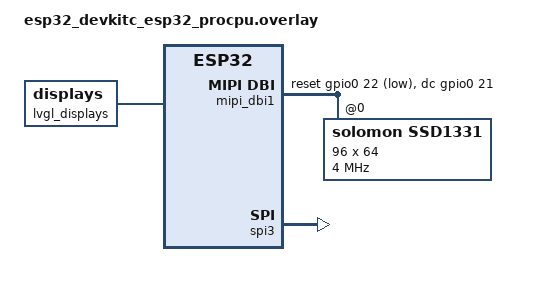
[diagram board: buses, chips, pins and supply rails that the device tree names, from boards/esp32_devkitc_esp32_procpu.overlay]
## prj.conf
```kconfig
# nothing here
#CONFIG_SHELL=y
CONFIG_ESP32_USE_UNSUPPORTED_REVISION=y
#CONFIG_LV_Z_FLUSH_THREAD=y
#CONFIG_CPP=y
#CONFIG_STD_CPP17=y
#CONFIG_LOG=y
#CONFIG_SPI_LOG_LEVEL_DBG=y


CONFIG_DEBUG_OPTIMIZATIONS=y
CONFIG_NO_OPTIMIZATIONS=n

# Display subsystem
CONFIG_DISPLAY=y
CONFIG_LVGL=y
CONFIG_LV_Z_MEM_POOL_SIZE=32768
CONFIG_MAIN_STACK_SIZE=8192
CONFIG_IDLE_STACK_SIZE=2048

CONFIG_LV_COLOR_DEPTH_16=y
CONFIG_LV_COLOR_16_SWAP=y

CONFIG_LV_FONT_DEFAULT_MONTSERRAT_14=n
CONFIG_LV_FONT_DEFAULT_MONTSERRAT_22=y

CONFIG_SPI=y
CONFIG_MIPI_DBI=y
CONFIG_MIPI_DBI_SPI=y

#CONFIG_LV_USE_CACHE=n
#CONFIG_LV_USE_IMAGE_CACHE=n
#CONFIG_LV_USE_IMAGE_DECODER=n

# LVGL
#CONFIG_LVGL_USE_LABEL=y
#CONFIG_LVGL_USE_FONT_DEFAULT_SMALL=y
#CONFIG_LVGL_BITS_PER_PIXEL=16
```

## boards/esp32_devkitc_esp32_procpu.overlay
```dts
/{
	chosen {
		zephyr,display = &ssd1331;
	};

    lvgl_displays: my-displays {
            compatible = "zephyr,displays";
            displays = <&ssd1331>;
            status = "okay";
    };

	mipi_dbi1 {
        compatible = "zephyr,mipi-dbi-spi";

        spi-dev = <&spi3>;

        dc-gpios = <&gpio0 21 GPIO_ACTIVE_HIGH>;
        reset-gpios = <&gpio0 22 GPIO_ACTIVE_LOW>;

        write-only;

        #address-cells = <1>;
        #size-cells = <0>;

        ssd1331: ssd1331@0 {
            compatible = "solomon,ssd1331";
            reg = <0>;
            width = <96>;
            height = <64>;

            display-offset = <0>;
            start-line = <0>;
            multiplex-ratio = <63>;

            phase-length = <0x31>;
            oscillator-freq = <0xF0>;

            mipi-mode = "MIPI_DBI_MODE_SPI_4WIRE";
            mipi-max-frequency = <4000000>;

            precharge-time-a = <0x70>;
            precharge-time-b = <0x70>;
            precharge-time-c = <0x70>;

            precharge-voltage = <0x3A>;
            vcomh-voltage = <0x20>;

            current-att = <0x08>;
            remap-value = <0x72>;
        };
	};
};

&spi3 {
	status = "okay";
	cs-gpios = <&gpio0 5 GPIO_ACTIVE_LOW>;
};
```

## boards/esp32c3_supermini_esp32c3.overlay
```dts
&pinctrl {
    spim2_default: spim2_default {
        group1 {
            pinmux = <SPIM2_MISO_GPIO5>,
                     <SPIM2_SCLK_GPIO6>,
                     <SPIM2_MOSI_GPIO7>;
        };
    };
};


/{
	chosen {
		zephyr,display = &ssd1331;
	};

    aliases {
        spibus = &spi2;
    };

    lvgl_displays: my-displays {
            compatible = "zephyr,displays";
            displays = <&ssd1331>;
            status = "okay";
    };

	mipi_dbi1 {
        compatible = "zephyr,mipi-dbi-spi";

        spi-dev = <&spi2>;

        dc-gpios = <&gpio0 8 GPIO_ACTIVE_HIGH>;
        reset-gpios = <&gpio0 9 GPIO_ACTIVE_LOW>;

        write-only;

        #address-cells = <1>;
        #size-cells = <0>;

        ssd1331: ssd1331@0 {
            compatible = "solomon,ssd1331";
            reg = <0>;
            width = <96>;
            height = <64>;

            display-offset = <0>;
            start-line = <0>;
            multiplex-ratio = <63>;

            phase-length = <0x31>;
            oscillator-freq = <0xF0>;

            color-coding = "MIPI_DBI_MODE_RGB565";
            mipi-mode = "MIPI_DBI_MODE_SPI_4WIRE";
            mipi-max-frequency = <4000000>;

            precharge-time-a = <0x70>;
            precharge-time-b = <0x70>;
            precharge-time-c = <0x70>;

            precharge-voltage = <0x3A>;
            vcomh-voltage = <0x20>;

            current-att = <0x08>;
            remap-value = <0x72>;
        };
	};
};

&spi2 {
    status = "okay";
/*    cs-gpios = <&gpio0 16 GPIO_ACTIVE_LOW>; */
    clock-frequency = <400000>;
    pinctrl-0 = <&spim2_default>;
    pinctrl-names = "default";

};
```

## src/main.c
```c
#include <zephyr/kernel.h>
#include <lvgl.h>
#include "baumer.h"

static lv_obj_t *label;
static lv_obj_t *img;

static const uint32_t colors[] = {
    0xFF0000, // red 
    0x00FF00, // green
    0x0000FF, // blue 
    0xFFFFFF, // white 
    0x000000, // black 
    0xFFFF00, // yellow 
    0x00FFFF, // cyan 
    0xFF00FF, // magenta 
};

static const char *words[] = {
    "I",
    "want",
    "to",
    "work",
    "@",
    "",
    "",
    ""
};

static void color_timer_cb(lv_timer_t *timer)
{
    static uint32_t idx = 0;

    lv_obj_t *screen = lv_timer_get_user_data(timer);

    lv_obj_set_style_bg_color(
        screen,
        lv_color_hex(colors[idx]),
        LV_PART_MAIN);

    idx = (idx + 1) % (sizeof(colors) / sizeof(colors[0]));
}

static void word_timer_cb(lv_timer_t *timer)
{
    static size_t idx = 0;

    lv_label_set_text(label, words[idx]);

    if (idx > 4) {
        lv_obj_add_flag(label, LV_OBJ_FLAG_HIDDEN);
        lv_obj_clear_flag(img, LV_OBJ_FLAG_HIDDEN);
    } else {
        lv_obj_add_flag(img, LV_OBJ_FLAG_HIDDEN);
        lv_obj_clear_flag(label, LV_OBJ_FLAG_HIDDEN);
    }

    idx++;
    if (idx >= ARRAY_SIZE(words)) {
        idx = 0;
    }
}

int main(void)
{
    printk("I am alive!\n");

    lv_init();
    printk("lv_init done.\n");

    const struct device *display = DEVICE_DT_GET(DT_CHOSEN(zephyr_display));
    if (!device_is_ready(display)) {
        printk("Display not ready\n");
        return -1;
    }

    printk("Display ready\n");

    lv_obj_t *screen = lv_scr_act();

    img = lv_image_create(screen);
    lv_image_set_src(img, &baumer);
    lv_obj_center(img);

    label = lv_label_create(screen);
    lv_obj_set_style_text_font(label, &lv_font_montserrat_22, 0);
    lv_obj_set_style_text_color(label, lv_color_hex(0xFFFFFF), 0);
    lv_obj_center(label);
    lv_label_set_text(label, words[0]);


    bool color_test = false;
    if (color_test) {
        lv_obj_add_flag(label, LV_OBJ_FLAG_HIDDEN);
        lv_obj_add_flag(img, LV_OBJ_FLAG_HIDDEN);
        lv_timer_create(color_timer_cb, 500, screen);
    } else {
        lv_timer_create(word_timer_cb, 500, label);
    }

    lv_obj_add_flag(img, LV_OBJ_FLAG_HIDDEN);

    lv_obj_set_style_bg_color(
        screen,
        lv_color_hex(0x000000),
        LV_PART_MAIN);

    while (1) {
        lv_timer_handler();
        k_msleep(1);
    }
    return 0;
}
```

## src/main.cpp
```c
/*

extern "C" void main(void)
{
    printk("Hello from C++ init!\n");

    while (1) {
        printk("running...\n");
        k_sleep(K_SECONDS(1));
    }
}
*/
```
